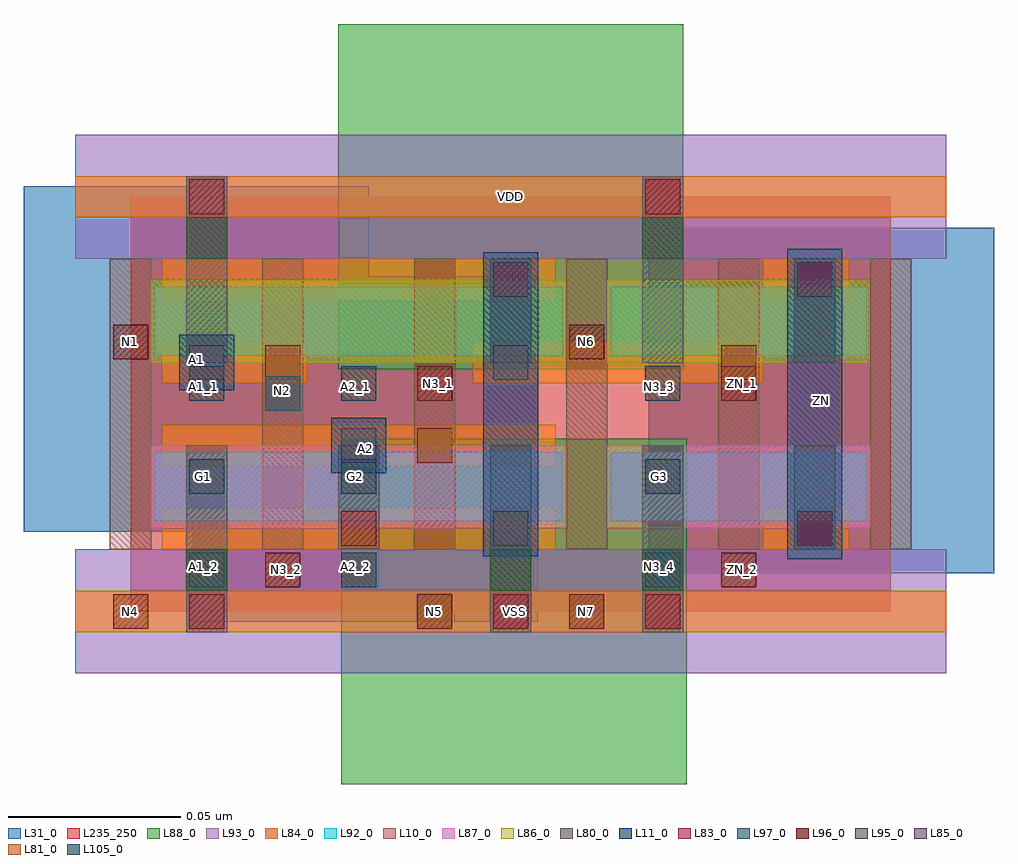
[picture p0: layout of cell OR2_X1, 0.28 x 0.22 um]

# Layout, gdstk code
import gdstk
lib = gdstk.Library(unit=1e-6, precision=1e-09)
def R(c, l, rs):  # rectangles x0, y0, x1, y1
    for r in rs: c.add(gdstk.rectangle(r[:2], r[2:], *l))
def A(c, l, x, y, w, h, nx, ny, dx, dy):  # array of equal rectangles
    R(c, l, [(x+i*dx, y+j*dy, x+i*dx+w, y+j*dy+h) for i in range(nx) for j in range(ny)])
L10_0 = (10, 0)
L11_0 = (11, 0)
L31_0 = (31, 0)
L80_0 = (80, 0)
L81_0 = (81, 0)
L83_0 = (83, 0)
L84_0 = (84, 0)
L85_0 = (85, 0)
L86_0 = (86, 0)
L87_0 = (87, 0)
L88_0 = (88, 0)
L92_0 = (92, 0)
L93_0 = (93, 0)
L95_0 = (95, 0)
L96_0 = (96, 0)
L97_0 = (97, 0)
L105_0 = (105, 0)
L235_250 = (235, 250)

or2_x1 = lib.new_cell('OR2_X1')
A(or2_x1, L10_0, -0.006, 0.018, 0.012, 0.084, 6, 1, 0.044, 0)
R(or2_x1, L11_0, [(0.19,0.015,0.206,0.105), (0.102,0.016,0.118,0.104), (0.058,0.04,0.074,0.056), (0.014,0.064,0.03,0.08)])
R(or2_x1, L31_0, [(0.018,-0.003,0.118,0.097), (0.15,0.011,0.25,0.111), (-0.031,0.023,0.069,0.123)])
R(or2_x1, L80_0, [(0.016,-0.006,0.028,0.048), (0.104,-0.006,0.116,0.048), (0.148,-0.006,0.16,0.048), (0.06,0.018,0.072,0.048), (0.192,0.018,0.204,0.048), (0.016,0.072,0.028,0.126), (0.104,0.072,0.116,0.102), (0.148,0.072,0.16,0.126), (0.192,0.072,0.204,0.102)])
R(or2_x1, L81_0, [(0.083,0.043,0.093,0.053), (0.039,0.067,0.049,0.077), (0.171,0.067,0.181,0.077)])
R(or2_x1, L83_0, [(0.017,-0.005,0.027,0.005), (0.105,-0.005,0.115,0.005), (0.149,-0.005,0.159,0.005), (0.061,0.019,0.071,0.029), (0.193,0.019,0.203,0.029), (0.105,0.091,0.115,0.101), (0.193,0.091,0.203,0.101), (0.017,0.115,0.027,0.125), (0.149,0.115,0.159,0.125)])
R(or2_x1, L84_0, [(-0.016,-0.006,0.236,0.006), (0.009,0.018,0.123,0.03), (0.183,0.018,0.208,0.03), (0.009,0.042,0.123,0.054), (0.009,0.066,0.051,0.078), (0.099,0.066,0.183,0.078), (0.009,0.09,0.123,0.102), (0.183,0.09,0.208,0.102), (-0.016,0.114,0.236,0.126)])
R(or2_x1, L85_0, [(0.105,0.019,0.115,0.029), (0.193,0.019,0.203,0.029), (0.061,0.043,0.071,0.053), (0.017,0.067,0.027,0.077), (0.105,0.067,0.115,0.077), (0.105,0.091,0.115,0.101), (0.193,0.091,0.203,0.101)])
R(or2_x1, L86_0, [(0.006,0.072,0.126,0.096), (0.138,0.072,0.214,0.096)])
R(or2_x1, L87_0, [(0.006,0.024,0.126,0.048), (0.138,0.024,0.214,0.048)])
R(or2_x1, L88_0, [(0.061,-0.05,0.161,0.05), (0.06,0.07,0.16,0.17)])
R(or2_x1, L92_0, [(0.007,0.026,0.125,0.046), (0.139,0.026,0.213,0.046), (0.007,0.074,0.125,0.094), (0.139,0.074,0.213,0.094)])
R(or2_x1, L93_0, [(-0.016,-0.018,0.236,0.018), (-0.016,0.102,0.236,0.138)])
R(or2_x1, L95_0, [(0.016,0.006,0.028,0.018), (0.104,0.006,0.116,0.018), (0.148,0.006,0.16,0.018), (0.016,0.102,0.028,0.114), (0.148,0.102,0.16,0.114)])
R(or2_x1, L96_0, [(-0.005,-0.005,0.005,0.005), (0.083,-0.005,0.093,0.005), (0.127,-0.005,0.137,0.005), (0.039,0.007,0.049,0.017), (0.171,0.007,0.181,0.017), (0.083,0.061,0.093,0.071), (0.171,0.061,0.181,0.071), (-0.005,0.073,0.005,0.083), (0.127,0.073,0.137,0.083)])
A(or2_x1, L97_0, 0.017, 0.007, 0.01, 0.01, 1, 3, 0, 0.027)
A(or2_x1, L97_0, 0.061, 0.007, 0.01, 0.01, 1, 3, 0, 0.027)
A(or2_x1, L97_0, 0.149, 0.007, 0.01, 0.01, 1, 3, 0, 0.027)
R(or2_x1, L105_0, [(0.039,0.058,0.049,0.068)])
R(or2_x1, L235_250, [(0,0,0.22,0.12)])
or2_x1.add(gdstk.Label('VSS', (0.111,0), layer=88, texttype=0))
or2_x1.add(gdstk.Label('VDD', (0.11,0.12), layer=88, texttype=0))
or2_x1.add(gdstk.Label('ZN', (0.2,0.061), layer=31, texttype=0))
or2_x1.add(gdstk.Label('A2', (0.068,0.047), layer=31, texttype=0))
or2_x1.add(gdstk.Label('A1', (0.019,0.073), layer=31, texttype=0))
or2_x1.add(gdstk.Label('N2', (0.044,0.064), layer=105, texttype=0))
or2_x1.add(gdstk.Label('N3_3', (0.153,0.065), layer=97, texttype=0))
or2_x1.add(gdstk.Label('N3_4', (0.153,0.013), layer=97, texttype=0))
or2_x1.add(gdstk.Label('G3', (0.153,0.039), layer=97, texttype=0))
or2_x1.add(gdstk.Label('G2', (0.065,0.039), layer=97, texttype=0))
or2_x1.add(gdstk.Label('A2_1', (0.065,0.065), layer=97, texttype=0))
or2_x1.add(gdstk.Label('A2_2', (0.065,0.013), layer=97, texttype=0))
or2_x1.add(gdstk.Label('G1', (0.021,0.039), layer=97, texttype=0))
or2_x1.add(gdstk.Label('A1_2', (0.021,0.013), layer=97, texttype=0))
or2_x1.add(gdstk.Label('A1_1', (0.021,0.065), layer=97, texttype=0))
or2_x1.add(gdstk.Label('N4', (0,0), layer=96, texttype=0))
or2_x1.add(gdstk.Label('N5', (0.088,0), layer=96, texttype=0))
or2_x1.add(gdstk.Label('N7', (0.132,0), layer=96, texttype=0))
or2_x1.add(gdstk.Label('N6', (0.132,0.078), layer=96, texttype=0))
or2_x1.add(gdstk.Label('N1', (0,0.078), layer=96, texttype=0))
or2_x1.add(gdstk.Label('N3_2', (0.045,0.012), layer=96, texttype=0))
or2_x1.add(gdstk.Label('ZN_2', (0.177,0.012), layer=96, texttype=0))
or2_x1.add(gdstk.Label('ZN_1', (0.177,0.066), layer=96, texttype=0))
or2_x1.add(gdstk.Label('N3_1', (0.089,0.066), layer=96, texttype=0))

lib.write_gds('OR2_X1.gds')
